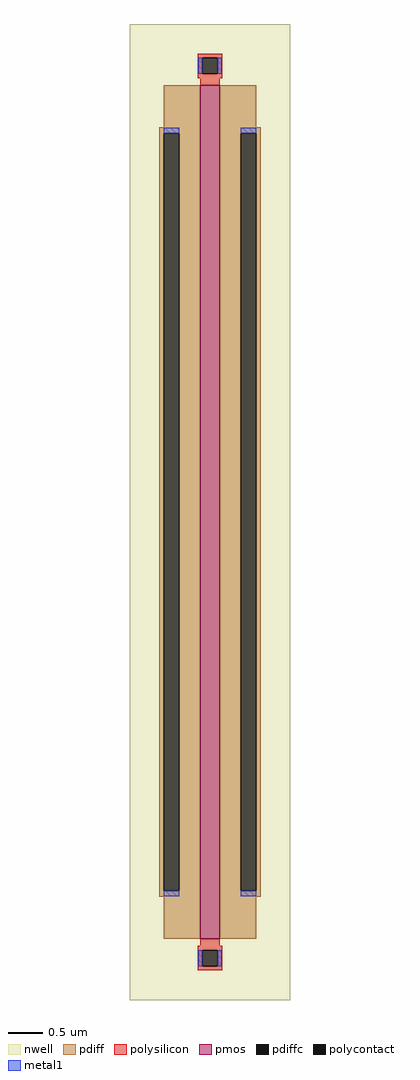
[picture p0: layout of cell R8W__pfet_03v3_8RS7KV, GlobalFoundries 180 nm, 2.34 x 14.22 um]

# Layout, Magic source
magic
tech gf180mcuD
magscale 1 10
<< nwell >>
rect -234 -1422 234 1422
<< pmos >>
rect -28 -1244 28 1244
<< pdiff >>
rect -135 1121 -28 1244
rect -148 1104 -28 1121
rect -148 -1104 -135 1104
rect -89 -1104 -28 1104
rect -148 -1121 -28 -1104
rect -135 -1244 -28 -1121
rect 28 1121 135 1244
rect 28 1104 148 1121
rect 28 -1104 89 1104
rect 135 -1104 148 1104
rect 28 -1121 148 -1104
rect 28 -1244 135 -1121
<< pdiffc >>
rect -135 -1104 -89 1104
rect 89 -1104 135 1104
<< polysilicon >>
rect -36 1323 36 1336
rect -36 1277 -23 1323
rect 23 1277 36 1323
rect -36 1264 36 1277
rect -28 1244 28 1264
rect -28 -1264 28 -1244
rect -36 -1277 36 -1264
rect -36 -1323 -23 -1277
rect 23 -1323 36 -1277
rect -36 -1336 36 -1323
<< polycontact >>
rect -23 1277 23 1323
rect -23 -1323 23 -1277
<< metal1 >>
rect -34 1277 -23 1323
rect 23 1277 34 1323
rect -135 1104 -89 1119
rect -135 -1119 -89 -1104
rect 89 1104 135 1119
rect 89 -1119 135 -1104
rect -34 -1323 -23 -1277
rect 23 -1323 34 -1277
<< properties >>
string GDS_END 234928
string GDS_FILE ../native_sources/A44_A_Q2_BEFORE_ESD.gds
string GDS_START 230700
<< end >>
